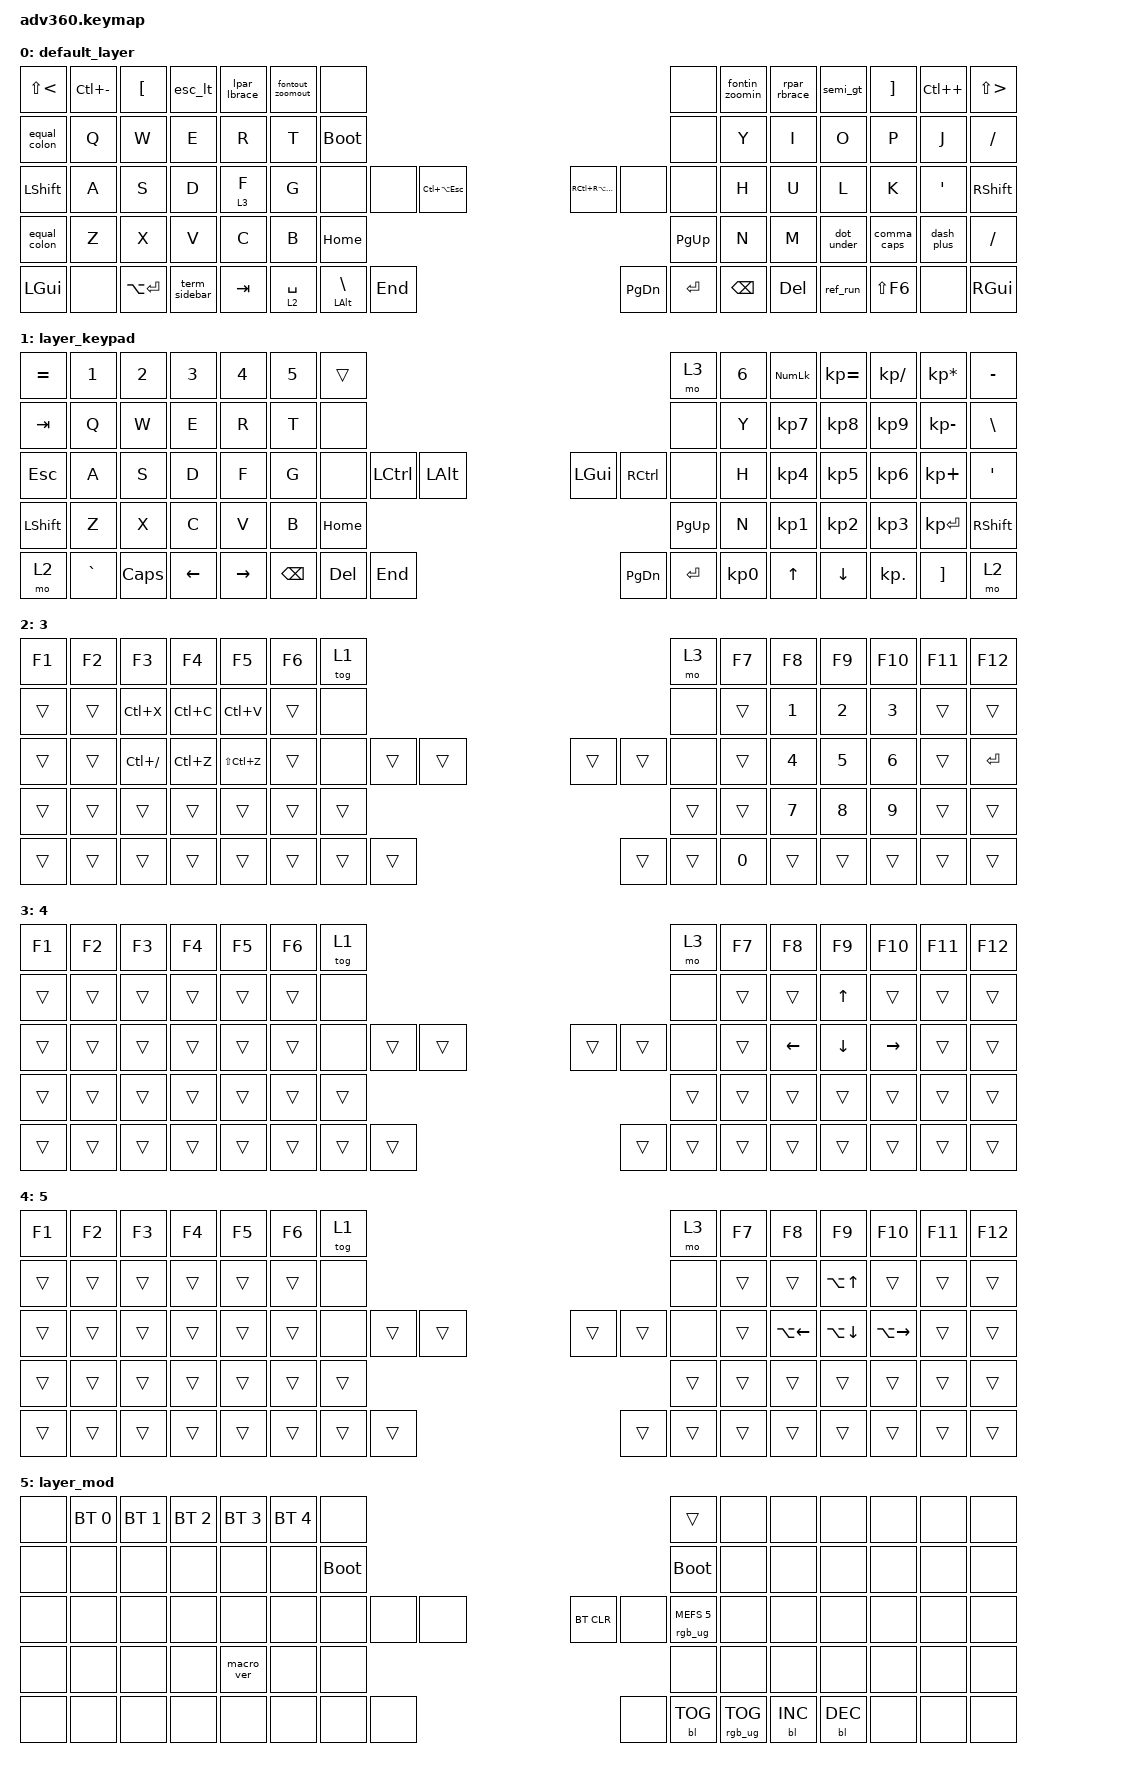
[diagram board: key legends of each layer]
/*
 * Copyright (c) 2020 The ZMK Contributors
 *
 * SPDX-License-Identifier: MIT
 */


/* THIS FILE WAS GENERATED!
 *
 * This file was generated automatically. You may or may not want to
 * edit it directly.
 */

#include <behaviors.dtsi>
#include <dt-bindings/zmk/keys.h>
#include <dt-bindings/zmk/bt.h>
#include <dt-bindings/zmk/rgb.h>
#include <dt-bindings/zmk/backlight.h>


&lt {
    tapping-term-ms = <200>;

};
&mt {
   tapping-term-ms = <300>;
};


/ {
  behaviors {
    #include "macros.dtsi"
    #include "version.dtsi"



dash_plus: dash_plus {
                compatible = "zmk,behavior-mod-morph";
                #binding-cells = <0>;
                bindings = <&kp MINUS>, <&kp PLUS>;
                mods = <(MOD_LSFT|MOD_RSFT)>;
            };
 comma_q: comma_q {
                compatible = "zmk,behavior-mod-morph";
                #binding-cells = <0>;
                bindings = <&kp COMMA>, <&kp QUESTION>;
                mods = <(MOD_LSFT|MOD_RSFT)>;
            };

dot_under: dot_under {
                compatible = "zmk,behavior-mod-morph";
                #binding-cells = <0>;
                bindings = <&kp DOT>, <&kp UNDER>;
                mods = <(MOD_LSFT|MOD_RSFT)>;
            };
del_gt: del_gt {
                compatible = "zmk,behavior-mod-morph";
                #binding-cells = <0>;
                bindings = <&kp DELETE>, <&kp GREATER_THAN>;
                mods = <(MOD_LSFT|MOD_RSFT)>;
            };
 rpar_pipe: rpar_pipe {
            compatible = "zmk,behavior-mod-morph";
            #binding-cells = <0>;
            bindings = <&kp RPAR>, <&kp PIPE>;
            mods = <(MOD_LSFT|MOD_RSFT)>;
        };
 lpar_caps: lpar_caps {
            compatible = "zmk,behavior-mod-morph";
            #binding-cells = <0>;
            bindings = <&kp LPAR>, <&kp CAPS>;
            mods = <(MOD_LSFT|MOD_RSFT)>;
        };
dash_gt: dash_gt {
            compatible = "zmk,behavior-mod-morph";
            #binding-cells = <0>;
            bindings = <&kp MINUS>, <&kp GREATER_THAN>;
            mods = <(MOD_LSFT|MOD_RSFT)>;
        };
 semi_bslash: semi_bslash {
            compatible = "zmk,behavior-mod-morph";
            #binding-cells = <0>;
            bindings = <&kp SEMI>, <&kp BACKSLASH>;
            mods = <(MOD_LSFT|MOD_RSFT)>;
        };

equal_colon: equal_colon {
                compatible = "zmk,behavior-mod-morph";
                #binding-cells = <0>;
                bindings = <&kp EQUAL>, <&kp COLON>;
                mods = <(MOD_LSFT|MOD_RSFT)>;
            };

esc_lt: esc_lt {
            compatible = "zmk,behavior-mod-morph";
            #binding-cells = <0>;
            bindings = <&kp ESCAPE>, <&kp LESS_THAN>;
            mods = <(MOD_LSFT|MOD_RSFT)>;
        };
ctrl_: ctrl_ {
            compatible = "zmk,behavior-mod-morph";
            #binding-cells = <0>;
            bindings = <&mt LCTRL CAPSLOCK>, <&kp GRAVE>;
            mods = <(MOD_LSFT|MOD_RSFT)>;
        };
 hm: homerow_mods {
        compatible = "zmk,behavior-hold-tap";
        label = "HOMEROW_MODS";
        #binding-cells = <2>;
        tapping-term-ms = <200>;
        quick_tap_ms = <175>;
        flavor = "tap-preferred";
        bindings = <&kp>, <&kp>;
    };
     tilde_grave: tilde_grave {
                    compatible = "zmk,behavior-mod-morph";
                    #binding-cells = <0>;
                    bindings = <&kp TILDE>, <&kp GRAVE>;
                    mods = <(MOD_LSFT|MOD_RSFT)>;
                };
    plus_q: plus_q {
                compatible = "zmk,behavior-mod-morph";
                #binding-cells = <0>;
                bindings = <&kp PLUS>, <&kp QUESTION>;
                mods = <(MOD_LSFT|MOD_RSFT)>;
            };
            comma_pipe:  comma_pipe {
                        compatible = "zmk,behavior-mod-morph";
                        #binding-cells = <0>;
                        bindings = <&kp COMMA>, <&kp PIPE>;
                        mods = <(MOD_LSFT|MOD_RSFT)>;
                    };

lpar_lbrace: lpar_lbrace {
compatible = "zmk,behavior-mod-morph";
#binding-cells = <0>;
bindings = <&kp LPAR>, <&kp LEFT_BRACE>;
mods = <(MOD_LSFT|MOD_RSFT)>;
};
rpar_rbrace: rpar_rbrace {
compatible = "zmk,behavior-mod-morph";
#binding-cells = <0>;
bindings = <&kp RPAR>, <&kp RIGHT_BRACE>;
mods = <(MOD_LSFT|MOD_RSFT)>;
};
capsword_gt: capsword_gt {
compatible = "zmk,behavior-mod-morph";
#binding-cells = <0>;
bindings = <&caps_word>, <&kp GREATER_THAN>;
mods = <(MOD_LSFT|MOD_RSFT)>;
};
equal_grave: equal_grave {
compatible = "zmk,behavior-mod-morph";
#binding-cells = <0>;
bindings = <&kp EQUAL>, <&kp GRAVE>;
mods = <(MOD_LSFT|MOD_RSFT)>;
};
ref_run: ref_run {
compatible = "zmk,behavior-mod-morph";
#binding-cells = <0>;
bindings = <&kp LC(LA(L))>, <&kp LC(LS(F10))>;
mods = <(MOD_LSFT|MOD_RSFT)>;
};
term_sidebar: term_sidebar {
compatible = "zmk,behavior-mod-morph";
#binding-cells = <0>;
bindings = <&kp LA(F12)>, <&kp LA(N1)>;
mods = <(MOD_LSFT|MOD_RSFT)>;
};
rpar_tilde: rpar_tilde{
compatible = "zmk,behavior-mod-morph";
#binding-cells = <0>;
bindings = <&kp RPAR>, <&kp TILDE>;
mods = <(MOD_LSFT|MOD_RSFT)>;
};
equal_capsword: equal_capsword{
compatible = "zmk,behavior-mod-morph";
#binding-cells = <0>;
bindings = <&kp EQUAL>, <&caps_word>;
mods = <(MOD_LSFT|MOD_RSFT)>;
};
equal_tilde: equal_tilde{
compatible = "zmk,behavior-mod-morph";
#binding-cells = <0>;
bindings = <&kp EQUAL>, <&kp TILDE>;
mods = <(MOD_LSFT|MOD_RSFT)>;
};
comma_grave:  comma_grave{
compatible = "zmk,behavior-mod-morph";
#binding-cells = <0>;
bindings = <&kp COMMA>, <&kp GRAVE>;
mods = <(MOD_LSFT|MOD_RSFT)>;
};
fontin_zoomin: fontin_zoomin {
compatible = "zmk,behavior-mod-morph";
#binding-cells = <0>;
bindings = <&kp LS(LA(GREATER_THAN))>, <&kp LS(LA(PLUS))>;
mods = <(MOD_LSFT|MOD_RSFT)>;
};
fontout_zoomout: fontout_zoomout {
compatible = "zmk,behavior-mod-morph";
#binding-cells = <0>;
bindings = <&kp LS(LA(LESS_THAN))>, <&kp LS(LA(MINUS))>;
mods = <(MOD_LSFT|MOD_RSFT)>;
};
enter_gt: enter_gt {
                compatible = "zmk,behavior-mod-morph";
                #binding-cells = <0>;
                bindings = <&kp LS(ENTER)>, <&kp GREATER_THAN>;
                mods = <(MOD_LSFT|MOD_RSFT)>;
            };
            colon_gt: colon_gt {
                        compatible = "zmk,behavior-mod-morph";
                        #binding-cells = <0>;
                        bindings = <&kp COLON>, <&kp GREATER_THAN>;
                        mods = <(MOD_LSFT|MOD_RSFT)>;
                    };
                     semi_grave: semi_grave {
                                     compatible = "zmk,behavior-mod-morph";
                                     #binding-cells = <0>;
                                     bindings = <&kp SEMI>, <&kp GRAVE>;
                                      mods = <(MOD_LSFT|MOD_RSFT)>;
                                 };
                                 caps_tilde: caps_tilde {
                                                 compatible = "zmk,behavior-mod-morph";
                                                 #binding-cells = <0>;
                                                 bindings = <&caps_word>, <&kp TILDE>;
                                                 mods = <(MOD_LSFT|MOD_RSFT)>;
                                             };
                                              semi_gt: semi_gt {
                                                         compatible = "zmk,behavior-mod-morph";
                                                         #binding-cells = <0>;
                                                         bindings = <&kp SEMI>, <&kp GREATER_THAN>;
                                                         mods = <(MOD_LSFT|MOD_RSFT)>;
                                                     };
                                                     comma_colon: comma_colon {
                                                                     compatible = "zmk,behavior-mod-morph";
                                                                     #binding-cells = <0>;
                                                                     bindings = <&kp COMMA>, <&kp COLON>;
                                                                     mods = <(MOD_LSFT|MOD_RSFT)>;
                                                                 };
                                                                 comma_tilde: comma_tilde {
                                                                             compatible = "zmk,behavior-mod-morph";
                                                                             #binding-cells = <0>;
                                                                             bindings = <&kp COMMA>, <&kp TILDE>;
                                                                             mods = <(MOD_LSFT|MOD_RSFT)>;
                                                                         };
                                                                         comma_caps: comma_caps {
                                                                                     compatible = "zmk,behavior-mod-morph";
                                                                                     #binding-cells = <0>;
                                                                                     bindings = <&kp COMMA>, <&caps_word>;
                                                                                     mods = <(MOD_LSFT|MOD_RSFT)>;
                                                                                 };
                                                                                 rpar_rbrack: rpar_rbrack {
                                                                                                 compatible = "zmk,behavior-mod-morph";
                                                                                                 #binding-cells = <0>;
                                                                                                 bindings = <&kp RPAR>, <&kp RIGHT_BRACKET>;
                                                                                                 mods = <(MOD_LSFT|MOD_RSFT)>;
                                                                                             };
                                                                                             lpar_lbrack: lpar_lbrack {
                                                                                                             compatible = "zmk,behavior-mod-morph";
                                                                                                             #binding-cells = <0>;
                                                                                                             bindings = <&kp LPAR>, <&kp LEFT_BRACKET>;
                                                                                                             mods = <(MOD_LSFT|MOD_RSFT)>;
                                                                                                         };

};

keymap {
compatible = "zmk,keymap";


        default_layer {
            bindings = <
 &kp LS(LESS_THAN)     &kp LC(MINUS)    &kp LEFT_BRACKET    &esc_lt     &lpar_lbrace  &fontout_zoomout              &none             &none  &fontin_zoomin  &rpar_rbrace &semi_gt &kp RIGHT_BRACKET            &kp LC(PLUS)  &kp LS(GREATER_THAN)
   &equal_colon     &kp Q     &kp W     &kp E      &kp R   &kp T               &bootloader                                                                &none   &kp Y   &kp I      &kp O     &kp P     &kp J &kp SLASH
   &kp LSHFT      &kp A     &kp S     &kp D      &lt 3 F   &kp G               &none  &none  &kp LC(LA(ESC))                &kp RC(RA(DELETE))  &none  &none   &kp H   &kp U      &kp L     &kp K  &kp SINGLE_QUOTE  &kp RSHFT
 &equal_colon &kp Z     &kp X     &kp V      &kp C   &kp B                                 &kp HOME                  &kp PG_UP                         &kp N   &kp M  &dot_under   &comma_caps         &dash_plus  &kp SLASH
     &kp LGUI  &none  &kp LA(ENTER)  &term_sidebar  &kp TAB                    &lt 2 SPACE    &mt LALT BACKSLASH   &kp END                  &kp PG_DN  &kp ENTER  &kp BSPC          &kp DELETE   &ref_run  &kp LS(F6)         &none      &kp RGUI
            >;
        };

        layer_keypad {
            bindings = <
 &kp EQUAL     &kp N1    &kp N2    &kp N3     &kp N4  &kp N5              &trans                                                                 &mo 3  &kp N6  &kp KP_NUM  &kp KP_EQUAL  &kp KP_DIVIDE  &kp KP_MULTIPLY  &kp MINUS
   &kp TAB      &kp Q     &kp W     &kp E      &kp R   &kp T               &none                                                                 &none   &kp Y   &kp KP_N7     &kp KP_N8      &kp KP_N9     &kp KP_MINUS   &kp BSLH
   &kp ESC      &kp A     &kp S     &kp D      &kp F   &kp G               &none  &kp LCTRL  &kp LALT                   &kp LGUI  &kp RCTRL      &none   &kp H   &kp KP_N4     &kp KP_N5      &kp KP_N6      &kp KP_PLUS    &kp SQT
 &kp LSHFT      &kp Z     &kp X     &kp C      &kp V   &kp B                                 &kp HOME                  &kp PG_UP                         &kp N   &kp KP_N1     &kp KP_N2      &kp KP_N3     &kp KP_ENTER  &kp RSHFT
     &mo 2  &kp GRAVE  &kp CAPS  &kp LEFT  &kp RIGHT                    &kp BSPC    &kp DEL   &kp END                  &kp PG_DN  &kp ENTER  &kp KP_N0              &kp UP      &kp DOWN     &kp KP_DOT         &kp RBKT      &mo 2
            >;
        };

        3 {
            bindings = <
 &kp F1  &kp F2  &kp F3  &kp F4  &kp F5  &kp F6            &tog 1                                                   &mo 3  &kp F7  &kp F8  &kp F9  &kp F10  &kp F11  &kp F12
 &trans  &trans  &kp LC(X)  &kp LC(C)  &kp LC(V)  &trans             &none                                                   &none  &trans  &kp N1  &kp N2  &kp N3   &trans   &trans
 &trans  &trans  &kp LC(SLASH)  &kp LC(Z)  &kp LS(LC(Z))  &trans             &none  &trans  &trans                  &trans  &trans   &none  &trans  &kp N4  &kp N5   &kp N6   &trans   &kp ENTER
 &trans  &trans  &trans  &trans  &trans  &trans                            &trans                  &trans                  &trans  &kp N7  &kp N8   &kp N9   &trans   &trans
 &trans  &trans  &trans  &trans  &trans                    &trans  &trans  &trans                  &trans  &trans  &kp N0          &trans  &trans   &trans   &trans   &trans
            >;
        };
      4 {
            bindings = <
 &kp F1  &kp F2  &kp F3  &kp F4  &kp F5  &kp F6            &tog 1                                                   &mo 3  &kp F7  &kp F8  &kp F9  &kp F10  &kp F11  &kp F12
 &trans  &trans  &trans  &trans  &trans  &trans             &none                                                   &none  &trans  &trans  &kp UP  &trans   &trans   &trans
 &trans  &trans  &trans  &trans  &trans  &trans             &none  &trans  &trans                  &trans  &trans   &none  &trans  &kp LEFT  &kp DOWN  &kp RIGHT   &trans   &trans
 &trans  &trans  &trans  &trans  &trans  &trans                            &trans                  &trans                  &trans  &trans  &trans   &trans  &trans   &trans
 &trans  &trans  &trans  &trans  &trans                    &trans  &trans  &trans                  &trans  &trans  &trans          &trans  &trans   &trans   &trans   &trans
            >;
        };
         5 {
                    bindings = <
         &kp F1  &kp F2  &kp F3  &kp F4  &kp F5  &kp F6            &tog 1                                                   &mo 3  &kp F7  &kp F8  &kp F9  &kp F10  &kp F11  &kp F12
         &trans  &trans  &trans  &trans  &trans  &trans             &none                                                   &none  &trans  &trans  &kp LA(UP)  &trans   &trans   &trans
         &trans  &trans  &trans  &trans  &trans  &trans             &none  &trans  &trans                  &trans  &trans   &none  &trans  &kp LA(LEFT)  &kp LA(DOWN)  &kp LA(RIGHT)   &trans   &trans
         &trans  &trans  &trans  &trans  &trans  &trans                            &trans                  &trans                  &trans  &trans  &trans   &trans  &trans   &trans
         &trans  &trans  &trans  &trans  &trans                    &trans  &trans  &trans                  &trans  &trans  &trans          &trans  &trans   &trans   &trans   &trans
                    >;
                };
        layer_mod {
            bindings = <
  &none  &bt BT_SEL 0  &bt BT_SEL 1  &bt BT_SEL 2  &bt BT_SEL 3  &bt BT_SEL 4                  &none                                                                          &trans   &none       &none       &none   &none   &none   &none
  &none         &none         &none         &none         &none         &none            &bootloader                                                                     &bootloader   &none       &none       &none   &none   &none   &none
  &none         &none         &none         &none         &none         &none                  &none   &none   &none                  &bt BT_CLR       &none  &rgb_ug RGB_MEFS_CMD 5   &none       &none       &none   &none   &none   &none
  &none         &none         &none         &none    &macro_ver         &none                                  &none                       &none                                       &none       &none       &none   &none   &none   &none
  &none         &none         &none         &none         &none                                &none   &none   &none                       &none  &bl BL_TOG         &rgb_ug RGB_TOG          &bl BL_INC  &bl BL_DEC   &none   &none   &none
            >;
        };

    };
};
